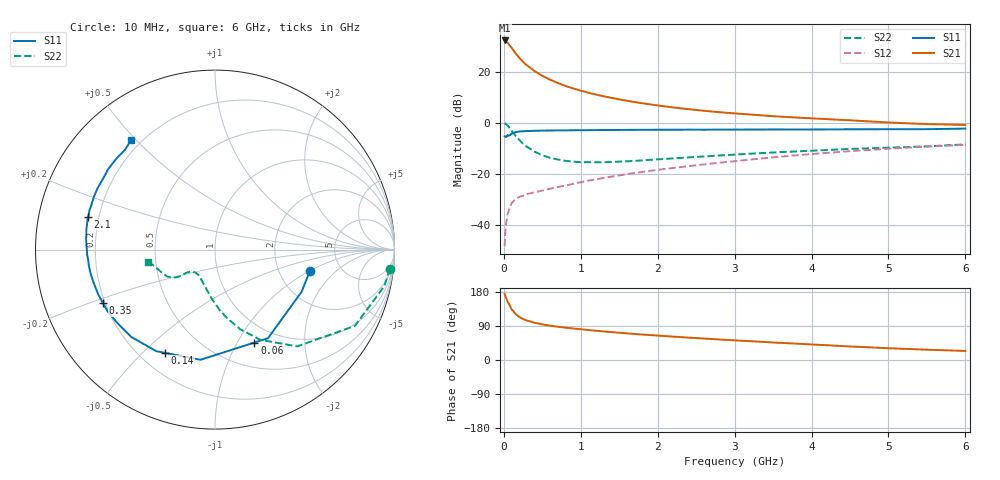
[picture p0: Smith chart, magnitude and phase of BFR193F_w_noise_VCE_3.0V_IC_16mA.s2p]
! Infineon Technologies  Discrete & RF Semiconductors
! BFR193F
! VCE =  3.0 V,  IC =  16 mA
! Common Emitter S-Parameters:  Jan 2017
# GHz  S  MA  R  50
!  f  S11  S21  S12  S22
! GHz  MAG  ANG  MAG  ANG  MAG  ANG  MAG  ANG
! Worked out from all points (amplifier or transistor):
!   77 points, 10 MHz to 6 GHz, reference 50 ohm
!   highest |S21| = 32.3 dB at 10 MHz (marker M1)
!   |S21| within 3 dB of that: start of sweep to 104.1 MHz
!   unconditionally stable (mu >= 1): 1.346 GHz to 2.855 GHz
!   at 130 MHz: K = 0.25, MSG = 29.4 dB, |S12| = -30.6 dB
!   at 2.2 GHz: K = 1.03, MAG = 10.8 dB, |S12| = -17.7 dB
!   at 6 GHz: K = 0.85, MSG = 3.9 dB, |S12| = -8.6 dB
!   lowest NFmin = 0.97 dB at 450 MHz
!   S11 on the Smith chart (normalised r, x): 10 MHz: 3.00, -1.01; 60 MHz: 0.78, -1.18; 140 MHz: 0.30, -0.59; 350 MHz: 0.19, -0.22; 2.1 GHz: 0.16, +0.12; 6 GHz: 0.16, +0.48
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0.01  0.5425 -12.6  41.14 174.6  0.0038 87.0  0.9796 -6.2
0.02  0.5367 -26.0  40.26 168.6  0.0074 78.6  0.9656 -12.1
0.05  0.5752 -59.1  37.2 153.2  0.0163 69.8  0.8879 -28.6
0.06  0.5625 -67.0  35.42 150.0  0.0182 65.2  0.844 -32.0
0.1  0.6191 -97.5  29.68 133.9  0.0263 53.8  0.7079 -49.6
0.14  0.6391 -115.8  24.53 124.8  0.0305 48.3  0.5885 -60.0
0.15  0.6538 -120.1  23.36 121.9  0.0316 47.2  0.5625 -63.3
0.2  0.6743 -133.9  18.89 113.8  0.0351 44.4  0.4636 -72.6
0.25  0.6809 -143.4  15.67 108.2  0.037 42.8  0.3882 -79.9
0.3  0.6903 -150.0  13.38 104.2  0.0398 42.6  0.3389 -85.5
0.35  0.6915 -154.5  11.81 101.5  0.0416 43.3  0.3037 -89.4
0.4  0.697 -159.0  10.28 98.1  0.0434 44.0  0.2703 -94.3
0.5  0.7014 -164.9  8.328 94.0  0.0467 47.1  0.23 -101.2
0.6  0.7055 -169.1  7.001 90.6  0.0508 49.2  0.2056 -107.0
0.8  0.7086 -175.2  5.283 85.4  0.0588 53.9  0.1796 -116.6
1.1  0.7165 178.4  3.884 79.0  0.0734 59.2  0.169 -125.9
1.6  0.7256 171.0  2.703 70.3  0.0982 64.5  0.1753 -135.8
2.1  0.7298 165.5  2.092 63.1  0.1245 67.1  0.1957 -140.0
3.1  0.7356 156.3  1.49 50.8  0.1827 68.6  0.2423 -142.7
4.1  0.739 146.8  1.2 40.0  0.2502 66.4  0.2873 -147.4
5.1  0.7473 136.4  0.998 30.3  0.3155 61.3  0.3286 -158.7
6  0.7681 127.5  0.909 23.9  0.3696 56.2  0.3767 -169.8
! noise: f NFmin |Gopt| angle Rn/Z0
0.45  0.97  0.28  157  0.06
0.9  1.06  0.38  161  0.06
1.9  1.7  0.58  -173  0.06
2.4  2  0.61  -163  0.09
